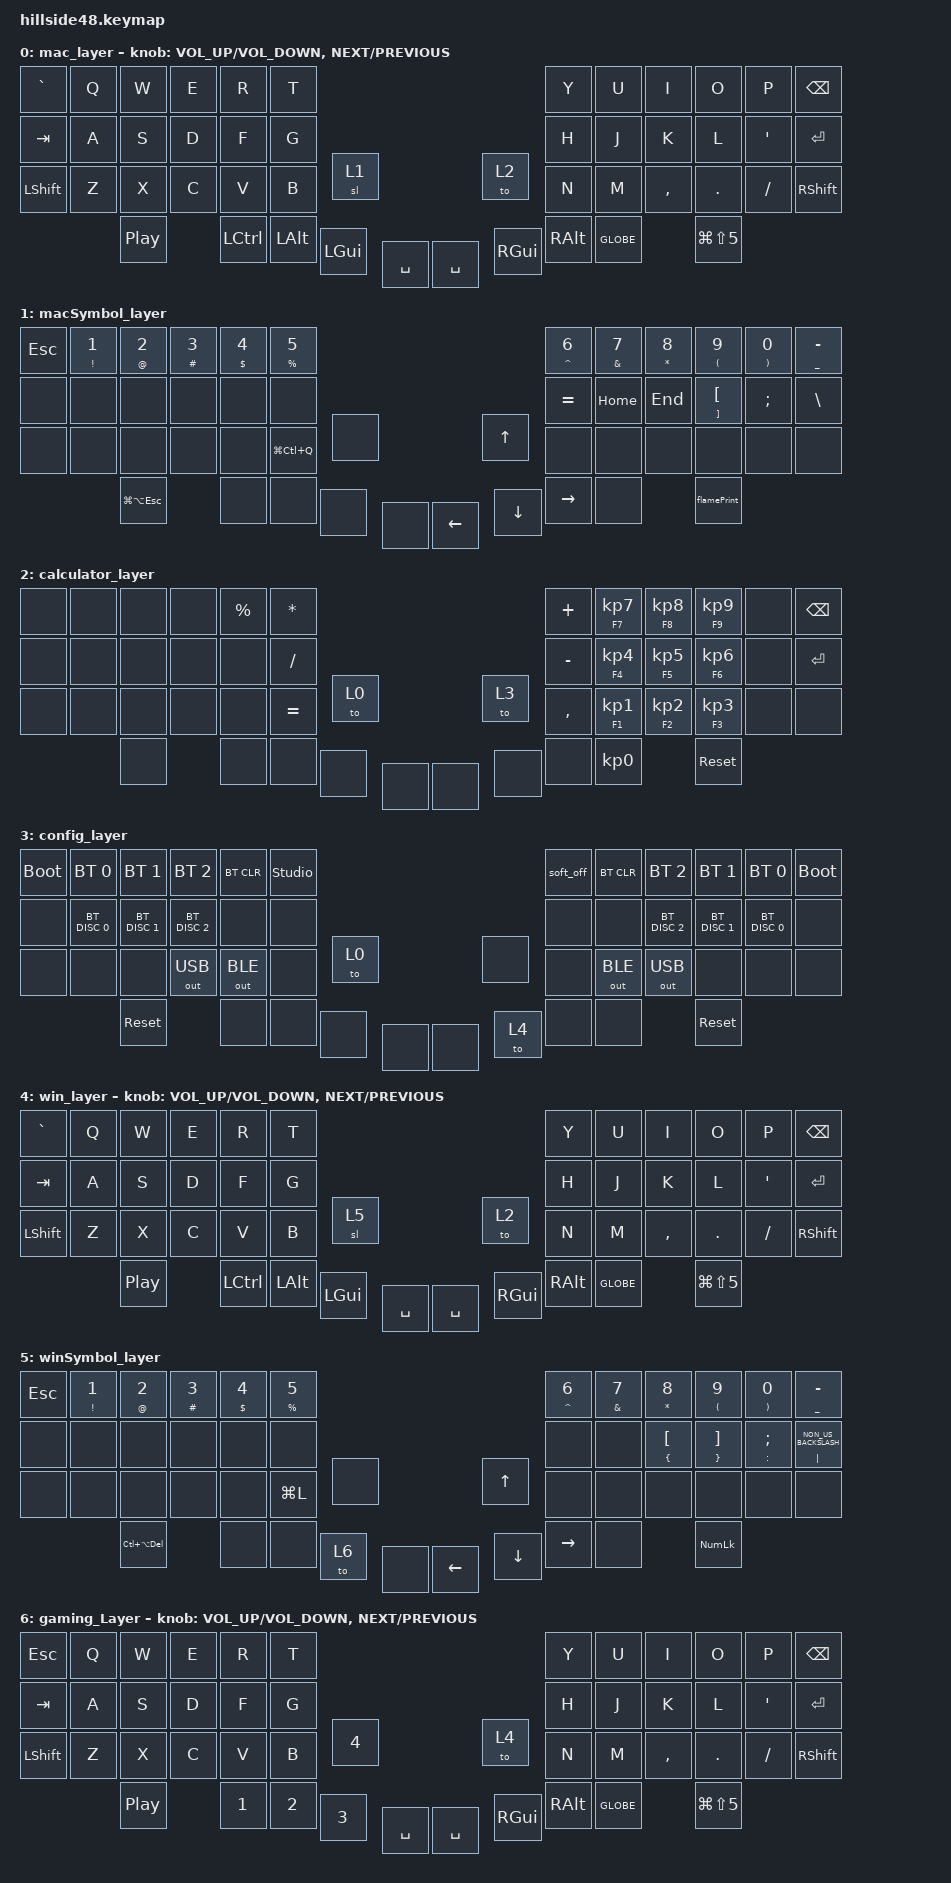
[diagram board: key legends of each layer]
/*
 * Copyright (c) 2022 The ZMK Contributors
 *
 * SPDX-License-Identifier: MIT
 */

#include <behaviors.dtsi>
#include <dt-bindings/zmk/bt.h>
#include <dt-bindings/zmk/keys.h>
#include <dt-bindings/zmk/outputs.h>

#define QWERTY_L 0
#define DVORAK_L 1
#define COLEMK_L 2
#define SYM_L    3
#define NUM_L    4
#define ADJ_L    5
#define Undo   LC(Z)
#define Cut    LC(X)
#define Copy   LC(C)
#define Paste  LC(V)

/ {
    macros {
        flamePrint: flamePrint {
            compatible = "zmk,behavior-macro";
            #binding-cells = <0>;
            bindings = <&kp LG(LS(X))>;
            label = "FLAMEPRINT";
        };

        macPrint: macPrint {
            compatible = "zmk,behavior-macro";
            #binding-cells = <0>;
            bindings = <&kp LEFT_COMMAND &kp LEFT_SHIFT &kp N5>;
            label = "MACPRINT";
        };
    };

    behaviors {
        // Optimization for rapid writing
    };

    keymap {
        compatible = "zmk,keymap";

        mac_layer {
            /* QWERTY
 * -------------------------------------------------------------------------------------------------------------------------------------
 * | `     |   Q   |   W   |   E   |   R   |   T   |-----------------------------------|   Y   |   U   |   I   |   O   |   P   | BKSPC |
 * | TAB   |   A   |   S   |   D   |   F   |   G   |-----------------------------------|   H   |   J   |   K   |   L   |   ;   | ENTER |
 * | SHIFT |   Z   |   X   |   C   |   V   |   B   | CAPS  |-------------------|  ESC  |   N   |   M   |   ,   |   .   |   /   | SHIFT |
 * ----------------| CTRL  |-------|  GUI  |  ALT  | SPACE |  Sym  |---|  Num  | SPACE |  ALT  |  GUI  |-------|   '   |----------------
 */

            bindings = <
&kp GRAVE       &kp Q  &kp W             &kp E  &kp R             &kp T                                                   &kp Y          &kp U      &kp I      &kp O           &kp P      &kp BSPC
&kp TAB         &kp A  &kp S             &kp D  &kp F             &kp G                                                   &kp H          &kp J      &kp K      &kp L           &kp APOS   &kp RET
&kp LEFT_SHIFT  &kp Z  &kp X             &kp C  &kp V             &kp B     &sl 1                               &to 2     &kp N          &kp M      &kp COMMA  &kp DOT         &kp SLASH  &kp RSHFT
                       &kp C_PLAY_PAUSE         &kp LEFT_CONTROL  &kp LALT  &kp LEFT_GUI  &kp SPACE  &kp SPACE  &kp RGUI  &kp RIGHT_ALT  &kp GLOBE             &kp LG(LS(N5))
            >;

            sensor-bindings =
                <&inc_dec_kp C_VOLUME_UP C_VOLUME_DOWN>,
                <&inc_dec_kp C_NEXT C_PREVIOUS>;
        };

        macSymbol_layer {
            bindings = <
&kp ESCAPE  &mt EXCL NUMBER_1  &mt AT N2           &mt HASH N3  &mt DOLLAR N4  &mt PERCENT N5                                                &mt CARET N6  &mt AMPERSAND N7  &mt ASTERISK N8  &mt LEFT_PARENTHESIS N9         &mt RIGHT_PARENTHESIS N0  &mt UNDERSCORE MINUS
&none       &none              &none               &none        &none          &none                                                         &kp EQUAL     &kp HOME          &kp END          &mt RIGHT_BRACKET LEFT_BRACKET  &kp SEMI                  &kp BACKSLASH
&none       &none              &none               &none        &none          &kp LG(LC(Q))   &none                         &kp UP_ARROW    &none         &none             &none            &none                           &none                     &none
                               &kp LG(LA(ESCAPE))               &none          &none           &none  &none  &kp LEFT_ARROW  &kp DOWN_ARROW  &kp RIGHT     &none                              &flamePrint
            >;
        };

        calculator_layer {
            bindings = <
&none  &none  &none  &none  &kp PERCENT  &kp ASTERISK                              &kp PLUS   &mt F7 KP_NUMBER_7  &mt F8 KP_NUMBER_8  &mt F9 KP_NUMBER_9  &none  &kp BACKSPACE
&none  &none  &none  &none  &none        &kp FSLH                                  &kp MINUS  &mt F4 KP_NUMBER_4  &mt F5 KP_NUMBER_5  &mt F6 KP_NUMBER_6  &none  &kp ENTER
&none  &none  &none  &none  &none        &kp EQUAL     &to 0                &to 3  &kp COMMA  &mt F1 KP_NUMBER_1  &mt F2 KP_NUMBER_2  &mt F3 KP_NUMBER_3  &none  &none
              &none         &none        &none         &none  &none  &none  &none  &none      &kp KP_NUMBER_0                         &sys_reset
            >;
        };

        config_layer {
            /* ADJUST
 * -------------------------------------------------------------------------------------------------------------------------------------
 * |       | QWERTY| DVORAK| COLEMK|       |       |-----------------------------------|       |Prt Scr|       | EP_OFF| EP_ON |       |
 * |       | BT 0  | BT 1  | BT 2  | BT 3  | BT 4  |-----------------------------------|       |       |       |       |       |       |
 * | BOOTL | RESET |       |OUT_USB|OUT_BLE|       |BT CLR |-------------------|       |       |       |       |       |       | SHIFT |
 * ----------------|       |-------|       |       |       |       |---|       |       |       |       |-------| CTRL  |----------------
 */

            bindings = <
&bootloader  &bt BT_SEL 0   &bt BT_SEL 1   &bt BT_SEL 2   &bt BT_CLR    &studio_unlock                              &soft_off  &bt BT_CLR    &bt BT_SEL 2   &bt BT_SEL 1   &bt BT_SEL 0   &bootloader
&none        &bt BT_DISC 0  &bt BT_DISC 1  &bt BT_DISC 2  &none         &none                                       &none      &none         &bt BT_DISC 2  &bt BT_DISC 1  &bt BT_DISC 0  &none
&none        &none          &none          &out OUT_USB   &out OUT_BLE  &none           &to 0                &none  &none      &out OUT_BLE  &out OUT_USB   &none          &none          &none
                            &sys_reset                    &none         &none           &none  &none  &none  &to 4  &none      &none                        &sys_reset
            >;
        };

        win_layer {
            bindings = <
&kp GRAVE       &kp Q  &kp W             &kp E  &kp R             &kp T                                                   &kp Y          &kp U      &kp I      &kp O           &kp P      &kp BSPC
&kp TAB         &kp A  &kp S             &kp D  &kp F             &kp G                                                   &kp H          &kp J      &kp K      &kp L           &kp APOS   &kp RET
&kp LEFT_SHIFT  &kp Z  &kp X             &kp C  &kp V             &kp B     &sl 5                               &to 2     &kp N          &kp M      &kp COMMA  &kp DOT         &kp SLASH  &kp RSHFT
                       &kp C_PLAY_PAUSE         &kp LEFT_CONTROL  &kp LALT  &kp LEFT_GUI  &kp SPACE  &kp SPACE  &kp RGUI  &kp RIGHT_ALT  &kp GLOBE             &kp LG(LS(N5))
            >;

            sensor-bindings =
                <&inc_dec_kp C_VOLUME_UP C_VOLUME_DOWN>,
                <&inc_dec_kp C_NEXT C_PREVIOUS>;
        };

        winSymbol_layer {
            bindings = <
&kp ESCAPE  &mt EXCL NUMBER_1  &mt AT NUMBER_2  &mt HASH NUMBER_3  &mt DOLLAR NUMBER_4  &mt PERCENT N5                                                &mt CARET NUMBER_6  &mt AMPERSAND N7  &mt ASTERISK N8              &mt LEFT_PARENTHESIS N9        &mt RIGHT_PARENTHESIS N0  &mt UNDERSCORE MINUS
&none       &none              &none            &none              &none                &none                                                         &none               &none             &mt LEFT_BRACE LEFT_BRACKET  &mt RIGHT_BRACE RIGHT_BRACKET  &mt COLON SEMICOLON       &mt PIPE NON_US_BACKSLASH
&none       &none              &none            &none              &none                &kp LG(L)       &none                         &kp UP_ARROW    &none               &none             &none                        &none                          &none                     &none
                               &kp LC(LA(DEL))                     &none                &none           &to 6  &none  &kp LEFT_ARROW  &kp DOWN_ARROW  &kp RIGHT           &none                                          &kp KP_NUMLOCK
            >;
        };

        gaming_Layer {
            bindings = <
&kp ESC         &kp Q  &kp W             &kp E  &kp R         &kp T                                                       &kp Y          &kp U      &kp I      &kp O           &kp P      &kp BSPC
&kp TAB         &kp A  &kp S             &kp D  &kp F         &kp G                                                       &kp H          &kp J      &kp K      &kp L           &kp APOS   &kp RET
&kp LEFT_SHIFT  &kp Z  &kp X             &kp C  &kp V         &kp B         &kp NUMBER_4                        &to 4     &kp N          &kp M      &kp COMMA  &kp DOT         &kp SLASH  &kp RSHFT
                       &kp C_PLAY_PAUSE         &kp NUMBER_1  &kp NUMBER_2  &kp NUMBER_3  &kp SPACE  &kp SPACE  &kp RGUI  &kp RIGHT_ALT  &kp GLOBE             &kp LG(LS(N5))
            >;

            sensor-bindings =
                <&inc_dec_kp C_VOLUME_UP C_VOLUME_DOWN>,
                <&inc_dec_kp C_NEXT C_PREVIOUS>;
        };
    };
};
